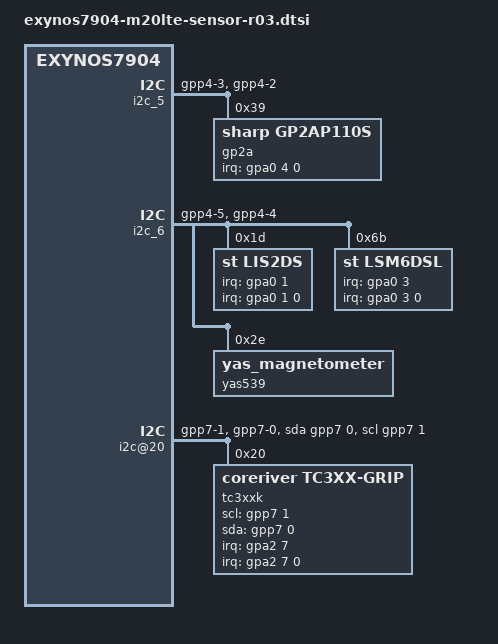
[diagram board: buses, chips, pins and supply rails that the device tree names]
/*
 * SAMSUNG UNIVERSAL7885 board device tree source
 *
 * Copyright (c) 2013 Samsung Electronics Co., Ltd.
 *		http://www.samsung.com
 *
 * This program is free software; you can redistribute it and/or modify
 * it under the terms of the GNU General Public License version 2 as
 * published by the Free Software Foundation.
 */

/ {
	
	pinctrl@11CB0000 {
		prox_int: prox_int {
			samsung,pins = "gpa0-4";
			samsung,pin-function = <0xf>;
			samsung,pin-pud = <0>;
			samsung,pin-drv = <0>;
		};

		grip_irq: grip-irq {
			samsung,pins = "gpa2-7";
			samsung,pin-function = <0xf>;
			samsung,pin-pud = <0>;
			samsung,pin-drv = <0>;
		};

		grip_input: grip-input {
			samsung,pins = "gpa2-7";
			samsung,pin-function = <0>;
			samsung,pin-pud = <0>;
			samsung,pin-drv = <0>;
		};
	};

	pinctrl@139B0000 {
		i2c5_bus: i2c5-bus {
			samsung,pins = "gpp4-3", "gpp4-2";
			samsung,pin-function = <2>;
			samsung,pin-pud = <0>;
			samsung,pin-drv = <0>;
		};

		i2c6_bus: i2c6-bus {
			samsung,pins = "gpp4-5", "gpp4-4";
			samsung,pin-function = <2>;
			samsung,pin-pud = <0>;
			samsung,pin-drv = <0>;
		};

		grip_i2c: grip-i2c {
			samsung,pins = "gpp7-1", "gpp7-0";
			samsung,pin-function = <2>;
			samsung,pin-pud = <0>;
			samsung,pin-drv = <0>;
		};

		grip_gpio: grip-gpio {
			samsung,pins = "gpp7-1", "gpp7-0";
			samsung,pin-function = <0>;
			samsung,pin-pud = <0>;
			samsung,pin-drv = <0>;
		};

	};

	i2c_5:i2c@13880000 {
		status = "okay";
		#address-cells = <1>;
		#size-cells = <0>;
		samsung,i2c-sda-delay = <100>;
		samsung,i2c-max-bus-freq = <400000>;
		pinctrl-names = "default";
		pinctrl-0 = <&i2c5_bus>;

		gp2a@39 {
			compatible = "sharp,gp2ap110s";
			reg = <0x39>;
			pinctrl-names = "default";
			pinctrl-0 = <&prox_int>;
			interrupt-parent = <&gpa0>;
			interrupts = <4 0 0>;
			gp2ap110s,led_reg_val_1 = <0x14>;
			gp2ap110s,ps_high_th_1 = <370>;
			gp2ap110s,ps_low_th_1 = <260>;
			gp2ap110s,led_reg_val_2 = <0x24>; /* If proximity close detection test fails */
			gp2ap110s,ps_high_th_2 = <200>;
			gp2ap110s,ps_low_th_2 = <170>;
			gp2ap110s,settings_thd_low = <130>;
			gp2ap110s,settings_thd_high = <370>;
			gp2ap110s,gpio_int = <&gpa0 4 0>;
		};
	};

	i2c_6: i2c@13890000 {
		status = "okay";
		#address-cells = <1>;
		#size-cells = <0>;
		samsung,i2c-sda-delay = <100>;
		samsung,i2c-max-bus-freq = <400000>;
		pinctrl-names = "default";
		pinctrl-0 = <&i2c6_bus>;

		lis2ds@1D {
			compatible = "st,lis2ds";
			reg = <0x1D>;
			interrupt-parent = <&gpa0>;
			interrupts = <1 0 0>;
			st,orientation = <0 1 1 1 2 1 1 1 2>;
			st,irq_gpio = <&gpa0 1 0>;
		};

		lsm6dsl@6b {
			compatible = "st,lsm6dsl";
			reg = <0x6b>;
			interrupt-parent = <&gpa0>;
			interrupts = <3 0 0>;
			st,irq_gpio = <&gpa0 3 0>;
			st,orientation = <1 0 1 2 1 1 1 1 2>;
		};

		yas539@2e {
			compatible = "yas_magnetometer";
			reg = <0x2e>;
			yas,orientation = <6>;
			yas,softiron = <9270 310 480 310 10280 90 480 90 10450>;
			yas,softiron_sign = <2 2 2 2 2 0 2 0 2>;
		};
	};

	i2c@20 {
		compatible = "i2c-gpio";
		gpios = <&gpp7 0 0
				&gpp7 1 0>;
		i2c-gpio,delay-us = <5>;
		pinctrl-names = "default","on_i2c","off_i2c";
		pinctrl-0 = <&grip_i2c>;
		pinctrl-1 = <&grip_i2c>;
		pinctrl-2 = <&grip_gpio>;
		#address-cells = <1>;
		#size-cells = <0>;
		status = "okay";
		tc3xxk@20 {
			compatible = "coreriver,tc3xx-grip";
			pinctrl-names = "default","on_irq","off_irq";
			pinctrl-0 = <&grip_irq>;
			pinctrl-1 = <&grip_irq>;
			pinctrl-2 = <&grip_input>;
			reg = <0x20>;
			interrupts = <7 0 0>;
			interrupt-parent = <&gpa2>;
			coreriver,scl-gpio = <&gpp7 1 0>;
			coreriver,sda-gpio = <&gpp7 0 0>;
			coreriver,irq-gpio = <&gpa2 7 0>;
			coreriver,ldo_en = <&gpg1 6 0>;
			coreriver,i2c-gpio = "true";
			coreriver,boot-on-ldo = "true";
			coreriver,fw_name = "coreriver/tc305k_m20_grip.fw";
			coreriver,use_bitmap = <1>;
		};
	};
};
